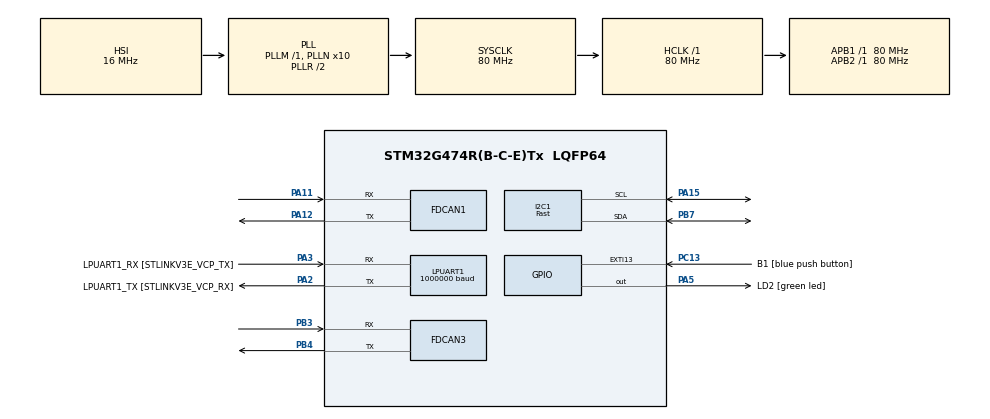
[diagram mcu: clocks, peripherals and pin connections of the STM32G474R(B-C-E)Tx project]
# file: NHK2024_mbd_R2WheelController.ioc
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FDCAN1.CalculateBaudRateNominal=1000000
FDCAN1.CalculateTimeBitNominal=1000
FDCAN1.CalculateTimeQuantumNominal=50.0
FDCAN1.DataPrescaler=2
FDCAN1.DataTimeSeg1=15
FDCAN1.DataTimeSeg2=4
FDCAN1.FrameFormat=FDCAN_FRAME_FD_BRS
FDCAN1.NominalPrescaler=4
FDCAN1.NominalTimeSeg1=15
FDCAN1.NominalTimeSeg2=4
FDCAN1.StdFiltersNbr=1
FDCAN3.CalculateBaudRateNominal=1000000
FDCAN3.CalculateTimeBitNominal=1000
FDCAN3.CalculateTimeQuantumNominal=50.0
FDCAN3.NominalPrescaler=4
FDCAN3.NominalTimeSeg1=15
FDCAN3.NominalTimeSeg2=4
FDCAN3.StdFiltersNbr=1
I2C1.I2C_Speed_Mode=I2C_Fast
I2C1.Timing=0x00702991
LPUART1.BaudRate=1000000
LPUART1.WordLength=UART_WORDLENGTH_8B
Mcu.Family=STM32G4
Mcu.Name=STM32G474R(B-C-E)Tx
Mcu.Package=LQFP64
NVIC.FDCAN1_IT0_IRQn=true\:3\:0\:true\:false\:true\:true\:true\:true
NVIC.FDCAN1_IT1_IRQn=true\:3\:0\:true\:false\:true\:true\:true\:true
NVIC.FDCAN3_IT0_IRQn=true\:2\:0\:true\:false\:true\:true\:true\:true
NVIC.FDCAN3_IT1_IRQn=true\:2\:0\:true\:false\:true\:true\:true\:true
NVIC.PriorityGroup=NVIC_PRIORITYGROUP_4
NVIC.TIM1_TRG_COM_TIM17_IRQn=true\:3\:0\:true\:false\:true\:true\:true\:true
NVIC.TIM7_DAC_IRQn=true\:0\:0\:false\:false\:true\:true\:true\:true
PA11.Mode=FDCAN_Activate
PA11.Signal=FDCAN1_RX
PA12.Mode=FDCAN_Activate
PA12.Signal=FDCAN1_TX
PA13.GPIO_Label=T_SWDIO
PA13.Mode=Serial_Wire
PA13.Signal=SYS_JTMS-SWDIO
PA14.GPIO_Label=T_SWCLK
PA14.Mode=Serial_Wire
PA14.Signal=SYS_JTCK-SWCLK
PA15.Mode=I2C
PA15.Signal=I2C1_SCL
PA2.GPIO_Label=LPUART1_TX [STLINKV3E_VCP_RX]
PA2.Mode=Asynchronous
PA2.Signal=LPUART1_TX
PA3.GPIO_Label=LPUART1_RX [STLINKV3E_VCP_TX]
PA3.Mode=Asynchronous
PA3.Signal=LPUART1_RX
PA5.GPIO_Label=LD2 [green led]
PA5.Signal=GPIO_Output
PB3.Mode=FDCAN_Activate
PB3.Signal=FDCAN3_RX
PB4.Mode=FDCAN_Activate
PB4.Signal=FDCAN3_TX
PB7.Mode=I2C
PB7.Signal=I2C1_SDA
PC13.GPIO_Label=B1 [blue push button]
PC13.Signal=GPXTI13
PC14-OSC32_IN.Mode=LSE-External-Oscillator
PC14-OSC32_IN.Signal=RCC_OSC32_IN
PC15-OSC32_OUT.Mode=LSE-External-Oscillator
PC15-OSC32_OUT.Signal=RCC_OSC32_OUT
PF0-OSC_IN.Mode=HSE-External-Oscillator
PF0-OSC_IN.Signal=RCC_OSC_IN
PF1-OSC_OUT.Mode=HSE-External-Oscillator
PF1-OSC_OUT.Signal=RCC_OSC_OUT
ProjectManager.HeapSize=0x200
ProjectManager.StackSize=0x400
ProjectManager.TargetToolchain=STM32CubeIDE
RCC.ADC12Freq_Value=80000000
RCC.ADC345Freq_Value=80000000
RCC.AHBFreq_Value=80000000
RCC.APB1Freq_Value=80000000
RCC.APB1TimFreq_Value=80000000
RCC.APB2Freq_Value=80000000
RCC.APB2TimFreq_Value=80000000
RCC.CortexFreq_Value=80000000
RCC.EXTERNAL_CLOCK_VALUE=12288000
RCC.HCLKFreq_Value=80000000
RCC.HSE_VALUE=24000000
RCC.HSI48_VALUE=48000000
RCC.HSI_VALUE=16000000
RCC.PLLN=10
RCC.RTCClockSelection=RCC_RTCCLKSOURCE_LSE
RCC.SYSCLKFreq_VALUE=80000000
RCC.SYSCLKSource=RCC_SYSCLKSOURCE_PLLCLK
RCC.USBFreq_Value=80000000
RCC.VCOOutputFreq_Value=160000000
TIM17.PeriodNoDither=999
TIM17.Prescaler=79
TIM7.PeriodNoDither=9999
TIM7.Prescaler=7999
VP_SYS_VS_DBSignals.Mode=DisableDeadBatterySignals
VP_TIM17_VS_ClockSourceINT.Mode=Enable_Timer
VP_TIM7_VS_ClockSourceINT.Mode=Enable_Timer
board=NUCLEO-G474RE

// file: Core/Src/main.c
/* USER CODE BEGIN Header */
/**
  ******************************************************************************
  * @file           : main.c
  * @brief          : Main program body
  ******************************************************************************
  * @attention
  *
  * Copyright (c) 2024 STMicroelectronics.
  * All rights reserved.
  *
  * This software is licensed under terms that can be found in the LICENSE file
  * in the root directory of this software component.
  * If no LICENSE file comes with this software, it is provided AS-IS.
  *
  ******************************************************************************
  */
/* USER CODE END Header */
#include "main.h"

/* USER CODE BEGIN Includes */
#include <stdio.h>
#include <math.h>
#include <quaternion.h>
#include <string.h>

#include "DJI_CANIDList.h"
#include "R2CANIDList.h"

#include "bno055.h"
#include "pid.h"
#include "filter.h"
/* USER CODE END Includes */

/* USER CODE BEGIN PD */
#define GET_CALIB_DATA

/* USER CODE END PD */

/* USER CODE BEGIN PM */
#define PI 3.14159265

#define WHEEL_DIAMETER 100 //[mm]
#define WHEELBASE_LEN 260 //[mm]
#define TREAD_LEN 245//[mm]

#define M2006_CURRENT_LIMIT 10000

#define CONTROL_CYCLE 1 //[ms]

#define CW -1
#define CCW 1

#define TRUE 1
#define FALSE 0

#define SLOPEANGLE 0.085
/* USER CODE END PM */

FDCAN_HandleTypeDef hfdcan1;
FDCAN_HandleTypeDef hfdcan3;

I2C_HandleTypeDef hi2c1;

UART_HandleTypeDef hlpuart1;

TIM_HandleTypeDef htim7;
TIM_HandleTypeDef htim17;

/* USER CODE BEGIN PV */
FDCAN_TxHeaderTypeDef fdcan3_TxHeader;
FDCAN_RxHeaderTypeDef fdcan3_RxHeader;
uint8_t 			  fdcan3_RxData[8];

FDCAN_TxHeaderTypeDef fdcan1_TxHeader;
FDCAN_RxHeaderTypeDef fdcan1_RxHeader;
uint8_t 			  fdcan1_RxData[8];

//The units of angle rate and angle are [rad/s] or [rad]
typedef struct{
	double actPos[3];
	double trgPos[3];
	double outPos[3];
	double actVel[3];
	double trgVel[3];
	double outVel[3];
	double trgVelF[3];
	PID velPID[3];
} robotPosStatus;

typedef struct{
	uint16_t CANID;
	uint8_t motorID;
	int8_t rotDir;//rotation direction
	double trgVel;//target angle velocity [RPM]
	double actVel;//actual angle velocity [RPM]
	double outVel;//output
	double angle;//[rad]
	double reductionRatio; //@param reduction ratio (1:param)
	double actCurrent;//actual torque current
	PID velPID;
}motor;

typedef struct{
	double diameter;
	double trgVel;
	double actVel;
	double outVel;
	double friction;//friction coefficient
}wheel;

typedef struct{
	double treadLen;
	double wheelBaseLen;
	double mass;
	double inertia;
	wheel wheels[4];
}robotPhyParam;

typedef struct{
	double upward;
	double plane;
	double slope;
	double planeGrvVector[3];
	double slopeGrvVector[3];
	double slopeAngleDiff;
}field_placement;

uint8_t is_on_slope = FALSE;
uint8_t is_field_init = FALSE;
uint8_t is_can_alive = TRUE;
uint8_t is_field_coordinate = FALSE;

field_placement gFieldPlacement;
Low_Pass_Filter_Settings *gyroLPFsetting;
robotPosStatus gRobotPos;
motor gMotors[4];
robotPhyParam gRobotPhy;
double gGrvVector[3] = {};

const uint8_t bno_calib_data[22] = {0, 63, 245, 109, 104, 193, 146, 149, 200, 213, 245, 218, 0, 0, 0, 0, 220, 224, 0, 8, 216, 224};
/* USER CODE END PV */

void SystemClock_Config(void);
static void MX_GPIO_Init(void);
static void MX_LPUART1_UART_Init(void);
static void MX_FDCAN3_Init(void);
static void MX_TIM17_Init(void);
static void MX_FDCAN1_Init(void);
static void MX_I2C1_Init(void);
static void MX_TIM7_Init(void);
/* USER CODE BEGIN PFP */
void RobotControllerInit(void);
void MotorControllerInit(void);
void RobotPosInit(void);
void RobotPhyParamInit(void);
void BNO055_Init(void);
void FieldPlacementInit(void);
void CountDown(char header[], uint8_t time);

void FieldPlacementUpdate(void);

void ReadEulerAngle(I2C_HandleTypeDef *hi2c, double euler[3], uint8_t address);
void ReadGrvVector(I2C_HandleTypeDef *hi2c, double vector[3], uint8_t address);
void ReadQuarternion(I2C_HandleTypeDef *hi2c, quaternion *q);
//CAN communication functions.
void CAN_Motordrive(int32_t vel[]);

//Convert Functions
void ConvertWheel2Motor(wheel *wheels, motor *motors);
void InverseKinematics(robotPosStatus *robotPos, wheel wheel[], robotPhyParam *robotPhy);
void ForwardKinematics(robotPosStatus *robotPos, wheel wheel[], robotPhyParam *robotPhy);
double CalcVectorAngle(double vector1[3], double vector2[3]);
double CalcRelatedHeadingAngle(double AbsHeading, double bases);

//Feed Back Functions
void RobotVelFB(void);
void SlopeStateSend(uint8_t state, double angle);

//Sequence Functions
/* USER CODE END PFP */

/* USER CODE BEGIN 0 */
//convert functions
void ConvertWheel2Motor(wheel *wheels, motor *motors){
	for(uint8_t i=0; i<4; i++){
		double M2W_Ratio =  motors[i].rotDir * PI * wheels[i].diameter / 60 / motors[i].reductionRatio;
		//Convert actual (angle) velocity
		wheels[i].actVel = motors[i].actVel * M2W_Ratio;

		//Convert target (angle) velocity
		motors[i].trgVel = wheels[i].trgVel / M2W_Ratio;
		motors[i].outVel = wheels[i].outVel / M2W_Ratio;
	}
}

void InverseKinematics(robotPosStatus *robotPos, wheel wheel[], robotPhyParam *robotPhy){
	//座標変換行�??
	const float wheelParam = (robotPhy->wheelBaseLen + robotPhy->treadLen) / 4;
	const float A[4][3] = {
			{-1,  1, wheelParam},
			{-1, -1, wheelParam},
			{ 1, -1, wheelParam},
			{ 1,  1, wheelParam}
	};

	for(uint8_t i=0; i<4; i++){
		wheel[i].trgVel = 0;
		for(uint8_t j=0; j<3; j++){
			wheel[i].trgVel += A[i][j] * robotPos->outVel[j];
		}
	}
}

void ForwardKinematics(robotPosStatus *robotPos, wheel wheel[], robotPhyParam *robotPhy){
	const float wheelParam = (robotPhy->wheelBaseLen + robotPhy->treadLen) / 2;
	const float gain = 0.25;
	const float A[3][4] = {
		{-1, -1, 1, 1},
		{1, -1, -1, 1},
		{1/wheelParam, 1/wheelParam, 1/wheelParam, 1/wheelParam}
	};

	for(uint8_t i=0; i<3; i++){
		robotPos->actVel[i] = 0;
		for(uint8_t j=0; j<4; j++){
			robotPos->actVel[i] += gain * A[i][j] * wheel[j].actVel;
		}
	}
}

void RotateVector(double theta,  double *start, double *destnation) {
  *destnation = start[0] * cos(theta) - start[1] * sin(theta);
    *(destnation + 1) = start[0] * sin(theta) + start[1] * cos(theta);
}

//Call Back
void HAL_FDCAN_RxFifo0Callback(FDCAN_HandleTypeDef *hfdcan, uint32_t RxFifo0ITs) {
	if ((RxFifo0ITs & FDCAN_IT_RX_FIFO0_NEW_MESSAGE) != RESET) {
		is_can_alive = TRUE;
		//printf("FIFO0 callback\r\n");
		if(hfdcan == &hfdcan1){
			if (HAL_FDCAN_GetRxMessage(hfdcan, FDCAN_RX_FIFO0, &fdcan1_RxHeader, fdcan1_RxData) != HAL_OK) {
				Error_Handler();
			}
			if(fdcan1_RxHeader.Identifier == CANID_ROBOT_VEL){
				float gain[3] = {16, 16, 0.02};
				if(fdcan1_RxData[3] == 0){
					is_field_coordinate = FALSE;
					for(uint8_t i=0; i<3; i++){
						gRobotPos.trgVel[i] = (fdcan1_RxData[i] - 127)*gain[i];
						gRobotPos.trgVelF[i] = gRobotPos.trgVel[i];
					}
				}
				else{
					is_field_coordinate = TRUE;
					for(uint8_t i = 0; i<3; i++){
						gRobotPos.trgVelF[i] = (fdcan1_RxData[i] - 127)*gain[i];
					}
				}

			}
		}
	}
}

void HAL_FDCAN_RxFifo1Callback(FDCAN_HandleTypeDef *hfdcan, uint32_t RxFifo1ITs) {
	//printf("FIFO1 callback\r\n");
	if ((RxFifo1ITs & FDCAN_IT_RX_FIFO1_NEW_MESSAGE) != RESET) {
		if (hfdcan == &hfdcan3) {
			if (HAL_FDCAN_GetRxMessage(hfdcan, FDCAN_RX_FIFO1, &fdcan3_RxHeader, fdcan3_RxData) != HAL_OK) {
				Error_Handler();
			}

			uint8_t motorID = fdcan3_RxHeader.Identifier - DJI_CANID_TX0 - 1;
			if(motorID<4){
				int16_t intbuff;
				//get actual angle velocity of motor from C610
				intbuff = fdcan3_RxData[2]<<8 | fdcan3_RxData[3];
				gMotors[motorID].actVel = (double)intbuff;
				//get actual torque current of motor
				intbuff = fdcan3_RxData[4]<<8 | fdcan3_RxData[5];
				gMotors[motorID].actCurrent = (double)intbuff;
			}
//			printf("motor %d: %f\r\n", motorID, gMotors[motorID].actVel);
		}
	}
}

void HAL_TIM_PeriodElapsedCallback(TIM_HandleTypeDef *htim){
	if(htim == &htim7){
		if(is_can_alive == FALSE){
			printf("CAN NOT ALIVE\r\n");
			gRobotPos.trgVel[0] = 0;
			gRobotPos.trgVel[1] = 0;
			gRobotPos.trgVel[2] = 0;
		}

		if(is_can_alive == TRUE){
			printf("CAN alive\r\n");
			is_can_alive = FALSE;
		}
//		printf("Posture:%f\r\n", gRobotPos.actPos[2]);
	}

	if(htim == &htim17){
		static uint8_t count = 0;

		if(count == 10 && is_field_init == TRUE){
			count = 0;
			//ジャイロ関係のハンドリング
			//read euler angle from BNO
//			double euler[3] = {};
//			ReadEulerAngle(&hi2c1, euler, BNO055_I2C_ADDR1);
			quaternion q;
			ReadQuarternion(&hi2c1, &q);
			double heading = quaternion_to_heading(q) - gFieldPlacement.upward;
			//北基準からフィールド上方向基準に変更
//			double a = euler[0] - gFieldPlacement.upward;
			if(heading > PI)heading -= 2 * PI;
			if(heading < -PI)heading += 2 * PI;

//			heading *= -1;

			gRobotPos.actPos[2] = heading;
//			printf("heading:%f, upward:%f \r\n",gRobotPos.actPos[2], gFieldPlacement.upward);

			//read gravity vector from BNO055 for detecting slope
			ReadGrvVector(&hi2c1, gGrvVector, BNO055_I2C_ADDR1);

			//printf("Grv vector x:%f / y:%f / z:%f\r\n", gGrvVector[0], gGrvVector[1], gGrvVector[2]);
			double rawAngle = CalcVectorAngle(gFieldPlacement.planeGrvVector, gGrvVector);
			double angle = low_pass_filter_update(gyroLPFsetting, rawAngle);

//			printf("angle:%f\r\n", rawAngle);
			if (rawAngle > gFieldPlacement.slopeAngleDiff * 0.8){
				is_on_slope = TRUE;
//				printf("On slope\r\n");
			}
			else{
				is_on_slope = FALSE;
			}
			SlopeStateSend(is_on_slope , rawAngle);
		}
		count++;

//		モーター制御
		//printf("Timer callback\r\n");
		int32_t output[4];

		ConvertWheel2Motor(gRobotPhy.wheels, gMotors);
		ForwardKinematics(&gRobotPos, gRobotPhy.wheels, &gRobotPhy);

		if(is_field_coordinate == TRUE){
			RotateVector(-gRobotPos.actPos[2], gRobotPos.trgVelF, gRobotPos.trgVel);
			gRobotPos.trgVel[2] = gRobotPos.trgVelF[2];
		}
		for(uint8_t i=0; i<3; i++){

			gRobotPos.velPID[i].setpoint = gRobotPos.trgVel[i];
			gRobotPos.outVel[i] = gRobotPos.trgVel[i] + pid_compute(&gRobotPos.velPID[i], gRobotPos.actVel[i]);
		}

		InverseKinematics(&gRobotPos, gRobotPhy.wheels, &gRobotPhy);
		ConvertWheel2Motor(gRobotPhy.wheels, gMotors);

		//motor PID
		for(uint8_t i=0; i<4; i++){
			gMotors[i].velPID.setpoint = gMotors[i].trgVel;
			output[i] = pid_compute(&gMotors[i].velPID, gMotors[i].actVel);
			if(is_can_alive == FALSE)output[i] = 0;
		}

		//transmit to C610
		CAN_Motordrive(output);
		RobotVelFB();
	}
}

void ReadEulerAngle(I2C_HandleTypeDef *hi2c, double euler[3], uint8_t address){
	uint8_t Rxbuffer[10];
	HAL_I2C_Mem_Read(hi2c, address << 1, BNO055_EULER_H_LSB_ADDR, I2C_MEMADD_SIZE_8BIT, Rxbuffer, 6, 100);

	for(uint8_t i=0; i<3; i++){
		euler[i] = (double)((Rxbuffer[i*2+1] << 8) | Rxbuffer[i*2])/16/180*PI;
	}
}

void ReadGrvVector(I2C_HandleTypeDef *hi2c, double vector[3], uint8_t address){
	uint8_t Rxbuffer[10];
	HAL_I2C_Mem_Read(hi2c, BNO055_I2C_ADDR1 << 1, BNO055_GRAVITY_DATA_X_LSB_ADDR, I2C_MEMADD_SIZE_8BIT, Rxbuffer, BNO055_GRAVITY_XYZ_DATA_SIZE, 100);

	for(uint8_t i=0; i<3; i++){
		int16_t b = (Rxbuffer[i*2+1] << 8) | Rxbuffer[i*2];
		vector[i] = (double)b / 100;
	}
}

void ReadQuarternion(I2C_HandleTypeDef *hi2c, quaternion *q){
	uint8_t Rxbuffer[8] = {};
	HAL_I2C_Mem_Read(hi2c, BNO055_I2C_ADDR1 << 1, BNO055_QUATERNION_DATA_W_LSB_ADDR, I2C_MEMADD_SIZE_8BIT, Rxbuffer, BNO055_QUATERNION_WXYZ_DATA_SIZE, 100);

	q->w = (double)((int16_t)(Rxbuffer[0] | (Rxbuffer[1] << 8)) / (double)pow(2, 14));
	q->x = (double)((int16_t)(Rxbuffer[2] | (Rxbuffer[3] << 8)) / (double)pow(2, 14));
	q->y = (double)((int16_t)(Rxbuffer[4] | (Rxbuffer[5] << 8)) / (double)pow(2, 14));
	q->z = (double)((int16_t)(Rxbuffer[6] | (Rxbuffer[7] << 8)) / (double)pow(2, 14));
}

void SlopeStateSend(uint8_t state, double angle){
	fdcan1_TxHeader.DataLength = FDCAN_DLC_BYTES_3;
	fdcan1_TxHeader.Identifier = CANID_SLOPE_DETECTION;

	//printf("send:%d\r\n", state);
	uint8_t fdcan1_TxData[3] = {state, (uint8_t)(angle * 4000), (uint8_t)(gFieldPlacement.slopeAngleDiff * 4000)};
	if(HAL_FDCAN_AddMessageToTxFifoQ(&hfdcan1, &fdcan1_TxHeader, fdcan1_TxData) != HAL_OK){
		Error_Handler();
	}
}

void RobotVelFB(void){
	uint8_t fdcan1_TxData[4] = {};
	double gain[3] = {16, 16, 0.02};
	for(uint8_t i=0; i<3; i++){
		if(gRobotPos.actVel[i]/16 + 127 > 255){
			fdcan1_TxData[i] = 255;
			continue;
		}
		else if(gRobotPos.actVel[i]/16 + 127 < 0){
			fdcan1_TxData[i] = 0;
			continue;
		}
		int8_t buffer = gRobotPos.actVel[i]/gain[i] + 127;
		fdcan1_TxData[i] |= buffer;
	}

	fdcan1_TxData[3] = (uint8_t)(40 * gRobotPos.actPos[2] + 127	);
	if(is_field_init == FALSE){
		fdcan1_TxData[3] = 127;
	}

	fdcan1_TxHeader.DataLength = FDCAN_DLC_BYTES_4;
	fdcan1_TxHeader.Identifier = CANID_ROBOT_VEL_FB;

	if(HAL_FDCAN_AddMessageToTxFifoQ(&hfdcan1, &fdcan1_TxHeader, fdcan1_TxData) != HAL_OK){
		Error_Handler();
	}
}
/* USER CODE END 0 */

int main(void)
{

  /* MCU Configuration--------------------------------------------------------*/

  /* Reset of all peripherals, Initializes the Flash interface and the Systick. */
  HAL_Init();

  /* USER CODE BEGIN Init */
  setbuf(stdout, NULL);

  /* USER CODE END Init */

  /* Configure the system clock */
  SystemClock_Config();

  /* Initialize all configured peripherals */
  MX_GPIO_Init();
  MX_LPUART1_UART_Init();
  MX_FDCAN3_Init();
  MX_TIM17_Init();
  MX_FDCAN1_Init();
  MX_I2C1_Init();
  MX_TIM7_Init();
  /* USER CODE BEGIN 2 */
  RobotControllerInit();
  MotorControllerInit();
  RobotPhyParamInit();
  HAL_Delay(100);
  while(gMotors[0].actVel != 0 && gMotors[1].actVel != 0 && gMotors[2].actVel != 0 && gMotors[3].actVel != 0){
	  HAL_Delay(200);
	  int32_t vel[4] = {};
	  CAN_Motordrive(vel);
  }
  BNO055_Init();
  HAL_TIM_Base_Start_IT(&htim17);

  FieldPlacementInit();
  FieldPlacementUpdate();

  HAL_TIM_Base_Start_IT(&htim7);
  printf("Initialized\r\n");

  /* USER CODE END 2 */

  /* Infinite loop */
  /* USER CODE BEGIN WHILE */
  while (1)
  {
	  uint8_t Rxbuff;
	  HAL_I2C_Mem_Read(&hi2c1, 0x28 << 1, BNO055_CALIB_STAT_ADDR, I2C_MEMADD_SIZE_8BIT, &Rxbuff, 1, 100);
	  printf("Calibration status:%x\r\n", Rxbuff);

//	  quaternion q0;
//	  q0.w = 0.701355;
//	  q0.x = -0.677979;
//	  q0.y = 0.148743;
//	  q0.z = -0.161987;
//
//	  quaternion q;
//	  ReadQuarternion(&hi2c1, &q);
//	  printf("q.w: %f\r\n", q.w);
//	  printf("q.x: %f\r\n", q.x);
//	  printf("q.y: %f\r\n", q.y);
//	  printf("q.z: %f\r\n", q.z);
//
//	  double heading = quaternion_to_heading(q);
//	  printf("heading: %f\r\n", heading);

//	  quaternion q_r = quaternion_multiply(q, quaternion_inverse(q0));

#ifdef GET_CALIB_DATA
	  uint8_t rx_buffer[23];
	  HAL_I2C_Mem_Read(&hi2c1, 0x28 << 1, BNO055_ACCEL_OFFSET_X_LSB_ADDR, I2C_MEMADD_SIZE_8BIT, rx_buffer, 1, 100);
	  for(uint8_t i=0; i<22; i++){
		  printf("address %d: %d\r\n", i, rx_buffer[i]);
	  }
#endif
	  HAL_Delay(1000);
    /* USER CODE END WHILE */

  }
}

void SystemClock_Config(void)
{
  RCC_OscInitTypeDef RCC_OscInitStruct = {0};
  RCC_ClkInitTypeDef RCC_ClkInitStruct = {0};

  /** Configure the main internal regulator output voltage
  */
  HAL_PWREx_ControlVoltageScaling(PWR_REGULATOR_VOLTAGE_SCALE1);

  /** Initializes the RCC Oscillators according to the specified parameters
  * in the RCC_OscInitTypeDef structure.
  */
  RCC_OscInitStruct.OscillatorType = RCC_OSCILLATORTYPE_HSI;
  RCC_OscInitStruct.HSIState = RCC_HSI_ON;
  RCC_OscInitStruct.HSICalibrationValue = RCC_HSICALIBRATION_DEFAULT;
  RCC_OscInitStruct.PLL.PLLState = RCC_PLL_ON;
  RCC_OscInitStruct.PLL.PLLSource = RCC_PLLSOURCE_HSI;
  RCC_OscInitStruct.PLL.PLLM = RCC_PLLM_DIV1;
  RCC_OscInitStruct.PLL.PLLN = 10;
  RCC_OscInitStruct.PLL.PLLP = RCC_PLLP_DIV2;
  RCC_OscInitStruct.PLL.PLLQ = RCC_PLLQ_DIV2;
  RCC_OscInitStruct.PLL.PLLR = RCC_PLLR_DIV2;
  if (HAL_RCC_OscConfig(&RCC_OscInitStruct) != HAL_OK)
  {
    Error_Handler();
  }

  /** Initializes the CPU, AHB and APB buses clocks
  */
  RCC_ClkInitStruct.ClockType = RCC_CLOCKTYPE_HCLK|RCC_CLOCKTYPE_SYSCLK
                              |RCC_CLOCKTYPE_PCLK1|RCC_CLOCKTYPE_PCLK2;
  RCC_ClkInitStruct.SYSCLKSource = RCC_SYSCLKSOURCE_PLLCLK;
  RCC_ClkInitStruct.AHBCLKDivider = RCC_SYSCLK_DIV1;
  RCC_ClkInitStruct.APB1CLKDivider = RCC_HCLK_DIV1;
  RCC_ClkInitStruct.APB2CLKDivider = RCC_HCLK_DIV1;

  if (HAL_RCC_ClockConfig(&RCC_ClkInitStruct, FLASH_LATENCY_2) != HAL_OK)
  {
    Error_Handler();
  }
}

static void MX_FDCAN1_Init(void)
{

  hfdcan1.Instance = FDCAN1;
  hfdcan1.Init.ClockDivider = FDCAN_CLOCK_DIV1;
  hfdcan1.Init.FrameFormat = FDCAN_FRAME_FD_BRS;
  hfdcan1.Init.Mode = FDCAN_MODE_NORMAL;
  hfdcan1.Init.AutoRetransmission = DISABLE;
  hfdcan1.Init.TransmitPause = DISABLE;
  hfdcan1.Init.ProtocolException = DISABLE;
  hfdcan1.Init.NominalPrescaler = 4;
  hfdcan1.Init.NominalSyncJumpWidth = 1;
  hfdcan1.Init.NominalTimeSeg1 = 15;
  hfdcan1.Init.NominalTimeSeg2 = 4;
  hfdcan1.Init.DataPrescaler = 2;
  hfdcan1.Init.DataSyncJumpWidth = 1;
  hfdcan1.Init.DataTimeSeg1 = 15;
  hfdcan1.Init.DataTimeSeg2 = 4;
  hfdcan1.Init.StdFiltersNbr = 1;
  hfdcan1.Init.ExtFiltersNbr = 0;
  hfdcan1.Init.TxFifoQueueMode = FDCAN_TX_FIFO_OPERATION;
  if (HAL_FDCAN_Init(&hfdcan1) != HAL_OK)
  {
    Error_Handler();
  }
  /* USER CODE BEGIN FDCAN1_Init 2 */
	FDCAN_FilterTypeDef sFilterConfig;
	sFilterConfig.IdType = FDCAN_STANDARD_ID;
	sFilterConfig.FilterIndex = 0;
	sFilterConfig.FilterType = FDCAN_FILTER_MASK;
	sFilterConfig.FilterConfig = FDCAN_FILTER_TO_RXFIFO0;
	sFilterConfig.FilterID1 = CANID_ROBOT_VEL;
	sFilterConfig.FilterID2 = 0b11111111111;

	if (HAL_FDCAN_ConfigFilter(&hfdcan1, &sFilterConfig) != HAL_OK) {
		Error_Handler();
	}
	if (HAL_FDCAN_ConfigGlobalFilter(&hfdcan1, FDCAN_REJECT, FDCAN_REJECT, FDCAN_FILTER_REMOTE, FDCAN_FILTER_REMOTE) != HAL_OK) {
		Error_Handler();
	}

	if (HAL_FDCAN_Start(&hfdcan1) != HAL_OK) {
		Error_Handler();
	}

	if (HAL_FDCAN_ActivateNotification(&hfdcan1, FDCAN_IT_RX_FIFO0_NEW_MESSAGE, 0) != HAL_OK) {
		Error_Handler();
	}

	fdcan1_TxHeader.IdType = FDCAN_STANDARD_ID;
	fdcan1_TxHeader.TxFrameType = FDCAN_DATA_FRAME;
	fdcan1_TxHeader.DataLength = FDCAN_DLC_BYTES_3;
	fdcan1_TxHeader.ErrorStateIndicator = FDCAN_ESI_ACTIVE;
	fdcan1_TxHeader.BitRateSwitch = FDCAN_BRS_ON;
	fdcan1_TxHeader.FDFormat = FDCAN_FD_CAN;
	fdcan1_TxHeader.TxEventFifoControl = FDCAN_NO_TX_EVENTS;
	fdcan1_TxHeader.MessageMarker = 0;
	fdcan1_TxHeader.Identifier = 0x700;

  /* USER CODE END FDCAN1_Init 2 */

}

static void MX_FDCAN3_Init(void)
{

  hfdcan3.Instance = FDCAN3;
  hfdcan3.Init.ClockDivider = FDCAN_CLOCK_DIV1;
  hfdcan3.Init.FrameFormat = FDCAN_FRAME_CLASSIC;
  hfdcan3.Init.Mode = FDCAN_MODE_NORMAL;
  hfdcan3.Init.AutoRetransmission = DISABLE;
  hfdcan3.Init.TransmitPause = DISABLE;
  hfdcan3.Init.ProtocolException = DISABLE;
  hfdcan3.Init.NominalPrescaler = 4;
  hfdcan3.Init.NominalSyncJumpWidth = 1;
  hfdcan3.Init.NominalTimeSeg1 = 15;
  hfdcan3.Init.NominalTimeSeg2 = 4;
  hfdcan3.Init.DataPrescaler = 1;
  hfdcan3.Init.DataSyncJumpWidth = 1;
  hfdcan3.Init.DataTimeSeg1 = 1;
  hfdcan3.Init.DataTimeSeg2 = 1;
  hfdcan3.Init.StdFiltersNbr = 1;
  hfdcan3.Init.ExtFiltersNbr = 0;
  hfdcan3.Init.TxFifoQueueMode = FDCAN_TX_FIFO_OPERATION;
  if (HAL_FDCAN_Init(&hfdcan3) != HAL_OK)
  {
    Error_Handler();
  }
  /* USER CODE BEGIN FDCAN3_Init 2 */

  	FDCAN_FilterTypeDef sFilterConfig;
	sFilterConfig.IdType = FDCAN_STANDARD_ID;
	sFilterConfig.FilterIndex = 0;
	sFilterConfig.FilterType = FDCAN_FILTER_RANGE;
	sFilterConfig.FilterConfig = FDCAN_FILTER_TO_RXFIFO1;
	sFilterConfig.FilterID1 = DJI_CANID_0;
	sFilterConfig.FilterID2 = DJI_CANID_7;

	if (HAL_FDCAN_ConfigFilter(&hfdcan3, &sFilterConfig) != HAL_OK) {
		Error_Handler();
	}
	if (HAL_FDCAN_ConfigGlobalFilter(&hfdcan3, FDCAN_REJECT, FDCAN_REJECT, FDCAN_FILTER_REMOTE, FDCAN_FILTER_REMOTE) != HAL_OK) {
		Error_Handler();
	}

	if (HAL_FDCAN_Start(&hfdcan3) != HAL_OK) {
		Error_Handler();
	}

	if (HAL_FDCAN_ActivateNotification(&hfdcan3, FDCAN_IT_RX_FIFO1_NEW_MESSAGE, 0) != HAL_OK) {
		Error_Handler();
	}

  /* USER CODE END FDCAN3_Init 2 */

}

static void MX_I2C1_Init(void)
{

  hi2c1.Instance = I2C1;
  hi2c1.Init.Timing = 0x00702991;
  hi2c1.Init.OwnAddress1 = 0;
  hi2c1.Init.AddressingMode = I2C_ADDRESSINGMODE_7BIT;
  hi2c1.Init.DualAddressMode = I2C_DUALADDRESS_DISABLE;
  hi2c1.Init.OwnAddress2 = 0;
  hi2c1.Init.OwnAddress2Masks = I2C_OA2_NOMASK;
  hi2c1.Init.GeneralCallMode = I2C_GENERALCALL_DISABLE;
  hi2c1.Init.NoStretchMode = I2C_NOSTRETCH_DISABLE;
  if (HAL_I2C_Init(&hi2c1) != HAL_OK)
  {
    Error_Handler();
  }

  /** Configure Analogue filter
  */
  if (HAL_I2CEx_ConfigAnalogFilter(&hi2c1, I2C_ANALOGFILTER_ENABLE) != HAL_OK)
  {
    Error_Handler();
  }

  /** Configure Digital filter
  */
  if (HAL_I2CEx_ConfigDigitalFilter(&hi2c1, 0) != HAL_OK)
  {
    Error_Handler();
  }

}

static void MX_LPUART1_UART_Init(void)
{

  hlpuart1.Instance = LPUART1;
  hlpuart1.Init.BaudRate = 1000000;
  hlpuart1.Init.WordLength = UART_WORDLENGTH_8B;
  hlpuart1.Init.StopBits = UART_STOPBITS_1;
  hlpuart1.Init.Parity = UART_PARITY_NONE;
  hlpuart1.Init.Mode = UART_MODE_TX_RX;
  hlpuart1.Init.HwFlowCtl = UART_HWCONTROL_NONE;
  hlpuart1.Init.OneBitSampling = UART_ONE_BIT_SAMPLE_DISABLE;
  hlpuart1.Init.ClockPrescaler = UART_PRESCALER_DIV1;
  hlpuart1.AdvancedInit.AdvFeatureInit = UART_ADVFEATURE_NO_INIT;
  if (HAL_UART_Init(&hlpuart1) != HAL_OK)
  {
    Error_Handler();
  }
  if (HAL_UARTEx_SetTxFifoThreshold(&hlpuart1, UART_TXFIFO_THRESHOLD_1_8) != HAL_OK)
  {
    Error_Handler();
  }
  if (HAL_UARTEx_SetRxFifoThreshold(&hlpuart1, UART_RXFIFO_THRESHOLD_1_8) != HAL_OK)
  {
    Error_Handler();
  }
  if (HAL_UARTEx_DisableFifoMode(&hlpuart1) != HAL_OK)
  {
    Error_Handler();
  }

}

static void MX_TIM7_Init(void)
{

  TIM_MasterConfigTypeDef sMasterConfig = {0};

  htim7.Instance = TIM7;
  htim7.Init.Prescaler = 7999;
  htim7.Init.CounterMode = TIM_COUNTERMODE_UP;
  htim7.Init.Period = 9999;
  htim7.Init.AutoReloadPreload = TIM_AUTORELOAD_PRELOAD_DISABLE;
  if (HAL_TIM_Base_Init(&htim7) != HAL_OK)
  {
    Error_Handler();
  }
  sMasterConfig.MasterOutputTrigger = TIM_TRGO_RESET;
  sMasterConfig.MasterSlaveMode = TIM_MASTERSLAVEMODE_DISABLE;
  if (HAL_TIMEx_MasterConfigSynchronization(&htim7, &sMasterConfig) != HAL_OK)
  {
    Error_Handler();
  }

}

static void MX_TIM17_Init(void)
{

  htim17.Instance = TIM17;
  htim17.Init.Prescaler = 79;
  htim17.Init.CounterMode = TIM_COUNTERMODE_UP;
  htim17.Init.Period = 999;
  htim17.Init.ClockDivision = TIM_CLOCKDIVISION_DIV1;
  htim17.Init.RepetitionCounter = 0;
  htim17.Init.AutoReloadPreload = TIM_AUTORELOAD_PRELOAD_DISABLE;
  if (HAL_TIM_Base_Init(&htim17) != HAL_OK)
  {
    Error_Handler();
  }

}

static void MX_GPIO_Init(void)
{
  GPIO_InitTypeDef GPIO_InitStruct = {0};

  /* GPIO Ports Clock Enable */
  __HAL_RCC_GPIOC_CLK_ENABLE();
  __HAL_RCC_GPIOF_CLK_ENABLE();
  __HAL_RCC_GPIOA_CLK_ENABLE();
  __HAL_RCC_GPIOB_CLK_ENABLE();

  /*Configure GPIO pin Output Level */
  HAL_GPIO_WritePin(LD2_GPIO_Port, LD2_Pin, GPIO_PIN_RESET);

  /*Configure GPIO pin : B1_Pin */
  GPIO_InitStruct.Pin = B1_Pin;
  GPIO_InitStruct.Mode = GPIO_MODE_IT_RISING;
  GPIO_InitStruct.Pull = GPIO_NOPULL;
  HAL_GPIO_Init(B1_GPIO_Port, &GPIO_InitStruct);

  /*Configure GPIO pin : LD2_Pin */
  GPIO_InitStruct.Pin = LD2_Pin;
  GPIO_InitStruct.Mode = GPIO_MODE_OUTPUT_PP;
  GPIO_InitStruct.Pull = GPIO_NOPULL;
  GPIO_InitStruct.Speed = GPIO_SPEED_FREQ_LOW;
  HAL_GPIO_Init(LD2_GPIO_Port, &GPIO_InitStruct);

}

/* USER CODE BEGIN 4 */
void CAN_Motordrive(int32_t vel[])
{
	int i;
	uint8_t TxData[8];
	for(i=0; i<4; i++){

		if(vel[i]<-1*M2006_CURRENT_LIMIT)vel[i]=-1*M2006_CURRENT_LIMIT;
		else if(vel[i]>M2006_CURRENT_LIMIT)vel[i]=M2006_CURRENT_LIMIT;
		TxData[i*2]=vel[i]>>8;//上位ビ
		TxData[i*2+1]=vel[i]&0x00FF;//下位ビ
	}

	fdcan3_TxHeader.IdType = FDCAN_STANDARD_ID;
	fdcan3_TxHeader.TxFrameType = FDCAN_DATA_FRAME;
	fdcan3_TxHeader.DataLength = FDCAN_DLC_BYTES_8;
	fdcan3_TxHeader.ErrorStateIndicator = FDCAN_ESI_ACTIVE;
	fdcan3_TxHeader.BitRateSwitch = FDCAN_BRS_OFF;
	fdcan3_TxHeader.FDFormat = FDCAN_CLASSIC_CAN;
	fdcan3_TxHeader.TxEventFifoControl = FDCAN_NO_TX_EVENTS;
	fdcan3_TxHeader.MessageMarker = 0;
	fdcan3_TxHeader.Identifier = DJI_CANID_TX0;

	if (HAL_FDCAN_AddMessageToTxFifoQ(&hfdcan3, &fdcan3_TxHeader, TxData) != HAL_OK) {
		/* Transmission request Error */
		Error_Handler();
	}
}

int _write(int file, char *ptr, int len)
{
    HAL_UART_Transmit(&hlpuart1,(uint8_t *)ptr,len,10);
    return len;
}

void RobotControllerInit(void){
	double velKp[3] = {0.3, 0.3, 1.6};
	double velKi[3] = {0, 0, 0.1};
	double velKd[3] = {0, 0, 0};
	double velIntegral_min[3] = {-5, -5, -3};
	double velIntegral_max[3] = {5, 5, 	3};

	for(uint8_t i=0; i<3; i++){
		gRobotPos.actPos[i] = 0;
		gRobotPos.actVel[i] = 0;
		gRobotPos.trgPos[i] = 0;
		gRobotPos.trgVel[i] = 0;
		gRobotPos.outPos[i] = 0;
		gRobotPos.outVel[i] = 0;

		pid_init(&gRobotPos.velPID[i], CONTROL_CYCLE, velKp[i], velKd[i], velKi[i], 0, velIntegral_min[i], velIntegral_max[i]);
	}
}

void BNO055_Init(void){
	HAL_Delay(700);
	uint8_t Txbuff;
	uint8_t Rxbuff;
	//char message[20];

	//Txbuff = 0x20;
	//HAL_I2C_Mem_Write(&hi2c1, 0x28 << 1, 0x3F, I2C_MEMADD_SIZE_8BIT, &Txbuff, 1, 100); //system trigger

	Txbuff = 0x00;
	HAL_I2C_Mem_Write(&hi2c1, 0x28 << 1, 0x3E, I2C_MEMADD_SIZE_8BIT, &Txbuff, 1, 100); //power mode

	HAL_I2C_Mem_Read(&hi2c1, 0x28 << 1, 0x3D, I2C_MEMADD_SIZE_8BIT, &Rxbuff, 1, 100);
	if(Rxbuff != 0){
		printf("Not configuration mode\r\n");
		Txbuff = 0;
		HAL_I2C_Mem_Write(&hi2c1, 0x28 << 1, 0x3D, I2C_MEMADD_SIZE_8BIT, &Txbuff, 1, 100);//using Nine Degree of Freedom mode
		printf("Set configuration mode\r\n");
		HAL_Delay(20);
	}

//	HAL_I2C_Mem_Write(&hi2c1, 0x28 << 1, BNO055_ACCEL_OFFSET_X_LSB_ADDR, I2C_MEMADD_SIZE_8BIT, bno_calib_data, 22, 100);

	//	axis remap
	Txbuff = 0b001001;
	HAL_I2C_Mem_Write(&hi2c1, 0x28 << 1, BNO055_AXIS_MAP_CONFIG_ADDR, I2C_MEMADD_SIZE_8BIT, &Txbuff, 1, 100);

//	Txbuff = 0b00000110;
//	HAL_I2C_Mem_Write(&hi2c1, 0x28 << 1, BNO055_AXIS_MAP_SIGN_ADDR, I2C_MEMADD_SIZE_8BIT, &Txbuff, 1, 100);

	Txbuff = 0x0C;
	HAL_I2C_Mem_Write(&hi2c1, 0x28 << 1, 0x3D, I2C_MEMADD_SIZE_8BIT, &Txbuff, 1, 100);//using Nine Degree of Freedom mode

	HAL_Delay(20);

	HAL_I2C_Mem_Read(&hi2c1, 0x28 << 1, 0x39, I2C_MEMADD_SIZE_8BIT, &Rxbuff, 1, 100);
	printf("System Error:%d\r\n", Rxbuff);

	HAL_I2C_Mem_Read(&hi2c1, 0x28 << 1, 0x3A, I2C_MEMADD_SIZE_8BIT, &Rxbuff, 1, 100);
	printf("Error:%d\r\n", Rxbuff);

	HAL_I2C_Mem_Read(&hi2c1, 0x28 << 1, 0x00, I2C_MEMADD_SIZE_8BIT, &Rxbuff, 1, 100);
	printf("ID:%d\r\n", Rxbuff);

	HAL_I2C_Mem_Read(&hi2c1, 0x28 << 1, 0x34, I2C_MEMADD_SIZE_8BIT, &Rxbuff, 1, 100);
	printf("Temp:%d\r\n", Rxbuff);

	double control_cycle = 0.01;
	double cutoff_freq = 0.1;

	gyroLPFsetting = low_pass_filter_init(cutoff_freq, control_cycle);

	HAL_Delay(100);

	/*
	printf("BNO Calibration\r\n");
	for(uint8_t i = 0; i < 10; i++){
		HAL_I2C_Mem_Read(&hi2c1, 0x28 << 1, BNO055_ACCEL_CALIB_STAT_REG, I2C_MEMADD_SIZE_8BIT, &Rxbuff, 1, 100);
		HAL_Delay(1000);
	}

	printf("Calibration Stats: %x\r\n", Rxbuff);
*/
}

void MotorControllerInit(void){
	double kp[4] = {12, 12, 12, 12};
	double ki[4] = {0, 0, 0, 0};
	double kd[4] = {0, 0, 0, 0};
	double integral_min[4] = {-30, -30, -30, -30};
	double integral_max[4] = {30, 30, 30, 30};

	for(uint8_t i=0; i<4; i++){
		gMotors[i].rotDir = CW;
		gMotors[i].CANID = DJI_CANID_0;
		gMotors[i].trgVel = 0;
		gMotors[i].actVel = 0;
		gMotors[i].outVel = 0;
		gMotors[i].angle = 0;
		gMotors[i].motorID = 0;
		gMotors[i].reductionRatio = 36;
		pid_init(&gMotors[i].velPID, CONTROL_CYCLE, kp[i], kd[i], ki[i], 0, integral_min[i], integral_max[i]);
	}
}

void RobotPhyParamInit(void){
	double frictions[4] = {1, 1, 1, 1};

	gRobotPhy.inertia = 1;
	gRobotPhy.mass = 1;
	gRobotPhy.treadLen = TREAD_LEN;
	gRobotPhy.wheelBaseLen = WHEELBASE_LEN;

	for(uint8_t i=0; i<4; i++){
		gRobotPhy.wheels[i].actVel = 0;
		gRobotPhy.wheels[i].friction = frictions[i];
		gRobotPhy.wheels[i].outVel = 0;
		gRobotPhy.wheels[i].trgVel = 0;
		gRobotPhy.wheels[i].diameter = WHEEL_DIAMETER;
	}
}

void FieldPlacementInit(void){
	gFieldPlacement.plane = PI/2;
	gFieldPlacement.upward = 0;
	gFieldPlacement.slope = PI/2 - 0.1;
	gFieldPlacement.slopeAngleDiff = 0.1;
	for(uint8_t i = 0; i < 3; i++){
		gFieldPlacement.planeGrvVector[i] = 0;
		gFieldPlacement.slopeGrvVector[i] = 0;
	}
}

void FieldPlacementUpdate(void){
	printf("Initializing field placement...\r\n");
	printf("Put the robot facing upward of the field\r\n");

	char header[24] = "Calibration starts in";
	double buff[3] = {};

//	CountDown(header, 2);
	printf("Calibrating\r\n");
	printf("DO NOT MOVE THE ROBOT\r\n");
	field_placement fieldPlacementTemp = {0, 0, 0, {}, {}, 0.05};

	for(uint8_t i = 0; i < 200; i++){
//		if((gRobotPos.actVel[0] != 0 || gRobotPos.actVel[1] != 0) || gRobotPos.actVel[2] != 0){
//			printf("Error: failed to get field upward\r\n");
//			return ;
//		}
//		ReadEulerAngle(&hi2c1, buff, BNO055_I2C_ADDR1);
		quaternion q;
		ReadQuarternion(&hi2c1, &q);
		double heading = quaternion_to_heading(q);
		fieldPlacementTemp.upward = (fieldPlacementTemp.upward * i + heading) / (i+1);
		HAL_Delay(10);
		ReadGrvVector(&hi2c1, buff, BNO055_I2C_ADDR1);
		for(uint8_t j = 0; j<3; j++){
			fieldPlacementTemp.planeGrvVector[j] = (fieldPlacementTemp.planeGrvVector[j] * i + buff[j]) / (i+1);
		}
	}

	printf("Pass: get field upward:%f\r\n", fieldPlacementTemp.upward);
/*	printf("Pass: get plane grv vector: X:%f / Y:%f / Z:%f\r\n", fieldPlacementTemp.planeGrvVector[0], fieldPlacementTemp.planeGrvVector[1], fieldPlacementTemp.planeGrvVector[2]);

	printf("Put the robot on the slope\r\n");
	HAL_Delay(1000);
	CountDown(header, 10);
	printf("Calibrating\r\n");

	printf("DO NOT MOVE THE ROBOT\r\n");
	fieldPlacementTemp.slope = gRobotPos.actPos[3];
	for(uint8_t i = 0; i < 200; i++){
//		if((gRobotPos.actVel[0] != 0 || gRobotPos.actVel[1] != 0) || gRobotPos.actVel[2] != 0){
//			printf("Error: failed to get field slope\r\n");
//			return ;
//		}

		ReadGrvVector(&hi2c1, buff, BNO055_I2C_ADDR1);
		for(uint8_t j = 0; j<3; j++){
			fieldPlacementTemp.slopeGrvVector[j] = (fieldPlacementTemp.slopeGrvVector[j] * i + buff[j]) / (i+1);
		}
		HAL_Delay(10);
	}

	printf("Pass: get slope grv vector: X:%f / Y:%f / Z:%f\r\n", fieldPlacementTemp.slopeGrvVector[0], fieldPlacementTemp.slopeGrvVector[1], fieldPlacementTemp.slopeGrvVector[2]);
*/
	gFieldPlacement.plane = fieldPlacementTemp.plane;
//	gFieldPlacement.slope = fieldPlacementTemp.slope;
	gFieldPlacement.upward = fieldPlacementTemp.upward;
	memmove(gFieldPlacement.planeGrvVector, fieldPlacementTemp.planeGrvVector, 24);
//	memmove(gFieldPlacement.slopeGrvVector, fieldPlacementTemp.slopeGrvVector, 24);

	gFieldPlacement.slopeAngleDiff = SLOPEANGLE;

	printf("Field data updated\r\n");
	printf("---------RESULT----------\n upward: %6.4f / slope angle:%6.4f\r\n", gFieldPlacement.upward, gFieldPlacement.slopeAngleDiff);
	printf("Plane grv vector: X:%f / Y:%f / Z:%f\r\n", fieldPlacementTemp.planeGrvVector[0], fieldPlacementTemp.planeGrvVector[1], fieldPlacementTemp.planeGrvVector[2]);

	is_field_init = TRUE;

}

void CountDown(char header[], uint8_t time){
	if(time < 1) return;
	for(;time >=1 ; time--){
		printf("%s %d sec\r\n", header, time);
		HAL_Delay(1000);
	}
}

double CalcVectorAngle(double vector1[3], double vector2[3]){
	double dotp = 0;//dot product

	double len1 = 0;//length of vector1
	double len2 = 0;//length of vector2

	double sqlen1 = 0;//squared length of vector1
	double sqlen2 = 0;//squared length of vector2

	for(uint8_t i = 0; i < 3; i++){
		dotp += vector1[i] * vector2[i];
		sqlen1 += pow(vector1[i], 2);
		sqlen2 += pow(vector2[i], 2);
	}

	len1 = sqrt(sqlen1);
	len2 = sqrt(sqlen2);

	return acos(dotp / (len1 * len2));
}
/* USER CODE END 4 */

void Error_Handler(void)
{
  __disable_irq();
  while (1)
  {
  }
}
